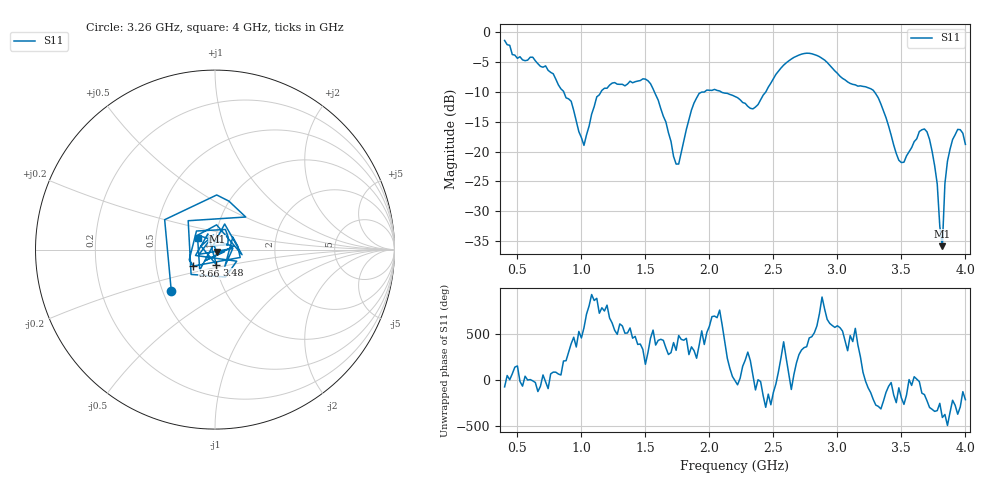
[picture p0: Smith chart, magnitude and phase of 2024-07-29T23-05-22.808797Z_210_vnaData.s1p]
!Created with skrf (http://scikit-rf.org).
# Hz S RI R 50.0
!freq ReS11 ImS11
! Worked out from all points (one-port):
!   181 points, 400 MHz to 4 GHz, reference 50 ohm
!   lowest |S11| = -35.9 dB at 3.82 GHz (marker M1), VSWR 1.03, Z = 51.1 - j1.18 ohm
!   |S11| at or under -10 dB: 1.57 GHz to 1.962 GHz (391.5 MHz wide, 22.2 % of centre); 2.092 GHz to 2.441 GHz (349.2 MHz wide, 15.4 % of centre); 3.289 GHz to end of sweep (the widest 3 of 4)
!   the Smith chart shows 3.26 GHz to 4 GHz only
!   S11 on the Smith chart (normalised r, x): 3.26 GHz: 0.55, -0.29; 3.48 GHz: 1.00, -0.17; 3.66 GHz: 0.77, -0.14; 4 GHz: 0.82, +0.10
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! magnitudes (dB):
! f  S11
! 400 MHz  -1.4
! 720 MHz  -5.6
! 860 MHz  -9.9
! 920 MHz  -11.6
! 1.02 GHz  -19.0
! 1.12 GHz  -10.8
! 1.3 GHz  -8.7
! 1.54 GHz  -8.6
! 1.76 GHz  -22.1
! 1.92 GHz  -10.3
! 2.2 GHz  -10.8
! 2.34 GHz  -12.8
! 2.66 GHz  -4.2
! 2.84 GHz  -3.9
! 3.1 GHz  -8.6
! 3.26 GHz  -9.5
! 3.34 GHz  -12.1
! 3.48 GHz  -21.5
! 3.56 GHz  -20.0
! 3.66 GHz  -16.3
! 3.74 GHz  -20.0
! 3.78 GHz  -25.4
! 3.8 GHz  -32.5
! 3.82 GHz  -35.9
! 3.84 GHz  -25.4
! 3.88 GHz  -19.6
! 3.94 GHz  -16.3
! 4 GHz  -18.8
